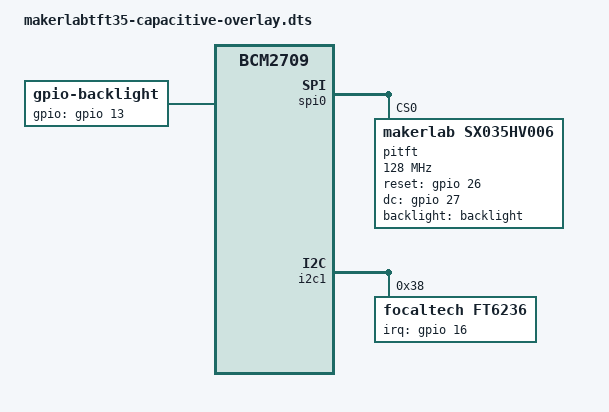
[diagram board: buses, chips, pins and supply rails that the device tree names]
/*
 * Device Tree overlay for MakerLAB TFT 3.5" capacitive touch screen
 *
 */

/dts-v1/;
/plugin/;

/ {
        compatible = "brcm,bcm2835", "brcm,bcm2708", "brcm,bcm2709";

        fragment@0 {
                target = <&spi0>;
                __overlay__ {
                        status = "okay";
                };
        };

	fragment@1 {
		target = <&spidev0>;
		__overlay__ {
			status = "disabled";
		};
	};
        
        fragment@2 {
                target = <&gpio>;
                __overlay__ {
                        pitft_pins: pitft_pins {
                                brcm,pins = <16 13 26 27>;
                                brcm,function = <0 1 1 1>; /* in out out out */
                        };
                };
        };

        fragment@3 {
                target = <&spi0>;
                __overlay__ {
                        /* needed to avoid dtc warning */
                        #address-cells = <1>;
                        #size-cells = <0>;

                        pitft: pitft@0{
                                compatible = "makerlab,sx035hv006";
                                pinctrl-names = "default";
                                pinctrl-0 = <&pitft_pins>;

                                reg = <0>;
                                spi-max-frequency = <128000000>;

                                rotation = <0>;
				reset-gpios = <&gpio 26 0>;
                                dc-gpios = <&gpio 27 0>;
                                backlight = <&backlight>;
                        };
                };
        };

        fragment@4 {
                target = <&i2c1>;
                __overlay__ {
                        /* needed to avoid dtc warning */
                        #address-cells = <1>;
                        #size-cells = <0>;

                        ft6236: ft6236@38 {
                                compatible = "focaltech,ft6236";
                                reg = <0x38>;

                                interrupt-parent = <&gpio>;
                                interrupts = <16 2>;
                                touchscreen-size-x = <320>;
                                touchscreen-size-y = <480>;
				touchscreen-inverted-x;
				touchscreen-swapped-x-y;
                        };
                };
        };
	
        fragment@5 {
		target-path = "/soc";
		__overlay__ {
			backlight: backlight {
				compatible = "gpio-backlight";
				gpios = <&gpio 13 0>;
			};
		};
	};
        
        __overrides__ {
                speed =   <&pitft>,"spi-max-frequency:0";
                rotation =  <&pitft>,"rotation:0";
                touch-sizex = <&ft6236>,"touchscreen-size-x?";
                touch-sizey = <&ft6236>,"touchscreen-size-y?";
                touch-invx  = <&ft6236>,"touchscreen-inverted-x?";
                touch-invy  = <&ft6236>,"touchscreen-inverted-y?";
                touch-swapxy = <&ft6236>,"touchscreen-swapped-x-y?";
        };
};
